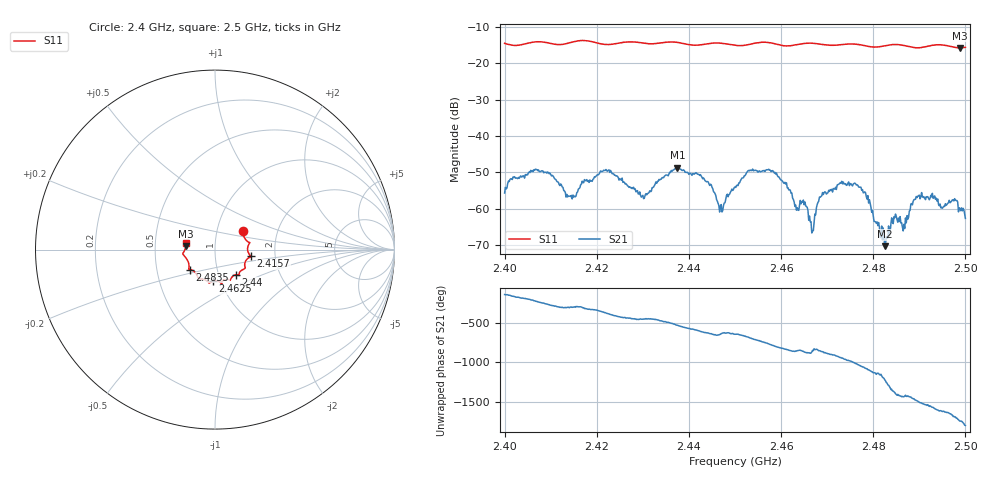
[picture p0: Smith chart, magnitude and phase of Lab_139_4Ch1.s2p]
# Hz S RI R 50
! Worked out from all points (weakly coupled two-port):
!   601 points, 2.4 GHz to 2.5 GHz, reference 50 ohm
!   highest |S21| = -48.70 dB at 2.4375 GHz (marker M1); lowest = -70.3 dB at 2.4825 GHz (marker M2)
!   lowest |S11| = -15.7 dB at 2.4988 GHz (marker M3), VSWR 1.39, Z = 36 + j1.38 ohm
!   |S11| at or under -10 dB: start of sweep to end of sweep
!   S12 and S22 are empty: the file has one direction only
!   S11 on the Smith chart (normalised r, x): 2.4 GHz: 1.33, +0.29; 2.4157 GHz: 1.49, -0.12; 2.44 GHz: 1.21, -0.35; 2.4625 GHz: 0.92, -0.34; 2.4835 GHz: 0.74, -0.17; 2.5 GHz: 0.72, +0.06
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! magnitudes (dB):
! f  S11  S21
! 2.4 GHz  -14.5  -55.7
! 2.4068 GHz  -14.1  -49.2
! 2.4157 GHz  -13.8  -55.6
! 2.4167 GHz  -13.7  -53.3
! 2.4225 GHz  -14.8  -49.4
! 2.43 GHz  -14.4  -56.3
! 2.4333 GHz  -14.4  -52.5
! 2.4375 GHz  -14.2  -48.7
! 2.44 GHz  -14.8  -50.6
! 2.447 GHz  -14.4  -58.9
! 2.45 GHz  -15.0  -54.0
! 2.4572 GHz  -14.2  -49.3
! 2.4625 GHz  -15.0  -57.1
! 2.4667 GHz  -14.4  -66.7
! 2.469 GHz  -14.8  -55.6
! 2.4762 GHz  -14.7  -53.2
! 2.4825 GHz  -15.1  -70.3
! 2.4833 GHz  -15.0  -64.8
! 2.4835 GHz  -14.9  -67.5
! 2.49 GHz  -15.7  -56.3
! 2.4988 GHz  -15.7  -59.9
! 2.5 GHz  -15.6  -62.7
